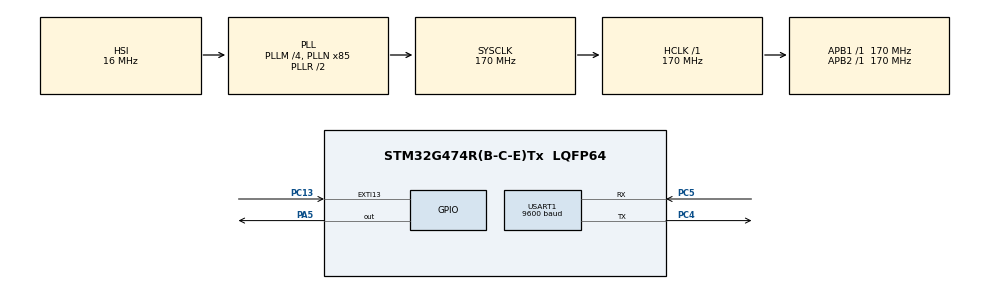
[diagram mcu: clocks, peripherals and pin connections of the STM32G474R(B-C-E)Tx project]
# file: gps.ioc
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Dma.Request0=USART1_RX
Dma.USART1_RX.0.Direction=DMA_PERIPH_TO_MEMORY
Dma.USART1_RX.0.EventEnable=DISABLE
Dma.USART1_RX.0.Instance=DMA1_Channel1
Dma.USART1_RX.0.MemDataAlignment=DMA_MDATAALIGN_BYTE
Dma.USART1_RX.0.MemInc=DMA_MINC_ENABLE
Dma.USART1_RX.0.Mode=DMA_CIRCULAR
Dma.USART1_RX.0.PeriphDataAlignment=DMA_PDATAALIGN_BYTE
Dma.USART1_RX.0.PeriphInc=DMA_PINC_DISABLE
Dma.USART1_RX.0.Polarity=HAL_DMAMUX_REQ_GEN_RISING
Dma.USART1_RX.0.Priority=DMA_PRIORITY_LOW
Dma.USART1_RX.0.RequestNumber=1
Dma.USART1_RX.0.SignalID=NONE
Dma.USART1_RX.0.SyncEnable=DISABLE
Dma.USART1_RX.0.SyncPolarity=HAL_DMAMUX_SYNC_NO_EVENT
Dma.USART1_RX.0.SyncRequestNumber=1
Dma.USART1_RX.0.SyncSignalID=NONE
Mcu.Family=STM32G4
Mcu.Name=STM32G474R(B-C-E)Tx
Mcu.Package=LQFP64
NUCLEO-G474RE.BUTTON=1
NUCLEO-G474RE.LD2=true
NUCLEO-G474RE.VCP=true
NVIC.DMA1_Channel1_IRQn=true\:0\:0\:false\:false\:true\:false\:true\:true
NVIC.EXTI15_10_IRQn=true\:0\:0\:false\:false\:true\:true\:true\:true
NVIC.PriorityGroup=NVIC_PRIORITYGROUP_4
NVIC.USART1_IRQn=true\:0\:0\:false\:false\:true\:true\:true\:true
PA13.GPIO_Label=T_SWDIO
PA13.Mode=Serial_Wire
PA13.Signal=SYS_JTMS-SWDIO
PA14.GPIO_Label=T_SWCLK
PA14.Mode=Serial_Wire
PA14.Signal=SYS_JTCK-SWCLK
PA2.Signal=LPUART1_TX
PA3.Signal=LPUART1_RX
PA5.Signal=GPIO_Output
PB3.GPIO_Label=T_SWO
PB3.Signal=SYS_JTDO-SWO
PC13.Signal=GPXTI13
PC14-OSC32_IN.GPIO_Label=RCC_OSC32_IN
PC14-OSC32_IN.Signal=RCC_OSC32_IN
PC15-OSC32_OUT.GPIO_Label=RCC_OSC32_OUT
PC15-OSC32_OUT.Signal=RCC_OSC32_OUT
PC4.Mode=Asynchronous
PC4.Signal=USART1_TX
PC5.Mode=Asynchronous
PC5.Signal=USART1_RX
PF0-OSC_IN.GPIO_Label=RCC_OSC_IN
PF0-OSC_IN.Mode=HSE-External-Oscillator
PF0-OSC_IN.Signal=RCC_OSC_IN
PF1-OSC_OUT.GPIO_Label=RCC_OSC_OUT
PF1-OSC_OUT.Mode=HSE-External-Oscillator
PF1-OSC_OUT.Signal=RCC_OSC_OUT
ProjectManager.HeapSize=0x200
ProjectManager.StackSize=0x400
ProjectManager.TargetToolchain=STM32CubeIDE
RCC.ADC12Freq_Value=170000000
RCC.ADC345Freq_Value=170000000
RCC.AHBFreq_Value=170000000
RCC.APB1Freq_Value=170000000
RCC.APB1TimFreq_Value=170000000
RCC.APB2Freq_Value=170000000
RCC.APB2TimFreq_Value=170000000
RCC.CortexFreq_Value=170000000
RCC.EXTERNAL_CLOCK_VALUE=12288000
RCC.HCLKFreq_Value=170000000
RCC.HSE_VALUE=24000000
RCC.HSI48_VALUE=48000000
RCC.HSI_VALUE=16000000
RCC.LSE_VALUE=32768
RCC.PLLM=RCC_PLLM_DIV4
RCC.PLLN=85
RCC.RTCClockSelection=RCC_RTCCLKSOURCE_LSE
RCC.SYSCLKFreq_VALUE=170000000
RCC.SYSCLKSource=RCC_SYSCLKSOURCE_PLLCLK
RCC.USBFreq_Value=170000000
RCC.VCOOutputFreq_Value=340000000
USART1.BaudRate=9600
USART1.VirtualMode-Asynchronous=VM_ASYNC
VP_NUCLEO-G474RE_VS_BSP_COMMON.Mode=COMMON
VP_SYS_VS_DBSignals.Mode=DisableDeadBatterySignals
board=NUCLEO-G474RE

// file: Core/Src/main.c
/* USER CODE BEGIN Header */
/**
  ******************************************************************************
  * @file           : main.c
  * @brief          : Main program body
  ******************************************************************************
  * @attention
  *
  * Copyright (c) 2026 STMicroelectronics.
  * All rights reserved.
  *
  * This software is licensed under terms that can be found in the LICENSE file
  * in the root directory of this software component.
  * If no LICENSE file comes with this software, it is provided AS-IS.
  *
  ******************************************************************************
  */
/* USER CODE END Header */
#include "main.h"

/* USER CODE BEGIN Includes */
#include <string.h>
#include <stdio.h>
#include <stdbool.h>
#include <stdlib.h>

/* USER CODE END Includes */

COM_InitTypeDef BspCOMInit;
UART_HandleTypeDef huart1;
DMA_HandleTypeDef hdma_usart1_rx;

/* USER CODE BEGIN PV */
#define RxBuffer_SIZE 64  //configure uart receive buffer size
#define DataBuffer_SIZE 512 //gather a few rxBuffer frames before parsing

// Functions for UART receiving, based on the DMA receive function, implementations may vary
uint16_t oldPos = 0;
uint16_t newPos = 0;
uint8_t RxBuffer[RxBuffer_SIZE];
uint8_t DataBuffer[DataBuffer_SIZE];

float total_distance_km =0.0f;
double prev_time = 0.0;
double curr_time = 0.0;
double delta_time = 0.0;
float distance_step = 0.0f;   // km or meters depending on your haversine
float speed_kmh = 0.0f;
float pace_min_per_km = 0.0f;
double prevLat = 0.0, prevLon = 0.0;
uint8_t firstFix = 1;
char buffer[100];

//create a GPS data structure
GPS myData;
/* USER CODE END PV */

void SystemClock_Config(void);
static void MX_GPIO_Init(void);
static void MX_DMA_Init(void);
static void MX_USART1_UART_Init(void);
/* USER CODE BEGIN PFP */
void get_location(void);
void Format_data(float Time,float Lat,float Long);

/* USER CODE END PFP */

/* USER CODE BEGIN 0 */

void HAL_UARTEx_RxEventCallback(UART_HandleTypeDef *huart, uint16_t Size)
{
    oldPos = newPos; //keep track of the last position in the buffer
    if(oldPos + Size > DataBuffer_SIZE){ //if the buffer is full, parse it, then reset the buffer

        uint16_t datatocopy = DataBuffer_SIZE-oldPos;  // find out how much space is left in the main buffer
        memcpy ((uint8_t *)DataBuffer+oldPos, RxBuffer, datatocopy);  // copy data in that remaining space

        oldPos = 0;  // point to the start of the buffer
        memcpy ((uint8_t *)DataBuffer, (uint8_t *)RxBuffer+datatocopy, (Size-datatocopy));  // copy the remaining data
        newPos = (Size-datatocopy);  // update the position
    }
    else{
        memcpy((uint8_t *)DataBuffer+oldPos, RxBuffer, Size); //copy received data to the buffer
        newPos = Size+oldPos; //update buffer position

    }
    HAL_UARTEx_ReceiveToIdle_DMA(&huart1, (uint8_t *)RxBuffer, RxBuffer_SIZE); //re-enable the DMA interrupt
    __HAL_DMA_DISABLE_IT(&hdma_usart1_rx, DMA_IT_HT); //disable the half transfer interrupt
}

/* USER CODE END 0 */

int main(void)
{

  /* MCU Configuration--------------------------------------------------------*/

  /* Reset of all peripherals, Initializes the Flash interface and the Systick. */
  HAL_Init();

  /* Configure the system clock */
  SystemClock_Config();

  /* Initialize all configured peripherals */
  MX_GPIO_Init();
  MX_DMA_Init();
  MX_USART1_UART_Init();
  /* USER CODE BEGIN 2 */
  HAL_UARTEx_ReceiveToIdle_DMA(&huart1, (uint8_t *)RxBuffer, RxBuffer_SIZE);
  __HAL_DMA_DISABLE_IT(&hdma_usart1_rx, DMA_IT_HT);
  int Serialcnt = 0;
  lcd_init();

  /* USER CODE END 2 */

  /* Initialize led */
  BSP_LED_Init(LED_GREEN);

  /* Initialize USER push-button, will be used to trigger an interrupt each time it's pressed.*/
  BSP_PB_Init(BUTTON_USER, BUTTON_MODE_EXTI);

  /* Initialize COM1 port (115200, 8 bits (7-bit data + 1 stop bit), no parity */
  BspCOMInit.BaudRate   = 115200;
  BspCOMInit.WordLength = COM_WORDLENGTH_8B;
  BspCOMInit.StopBits   = COM_STOPBITS_1;
  BspCOMInit.Parity     = COM_PARITY_NONE;
  BspCOMInit.HwFlowCtl  = COM_HWCONTROL_NONE;
  if (BSP_COM_Init(COM1, &BspCOMInit) != BSP_ERROR_NONE)
  {
    Error_Handler();
  }

  /* Infinite loop */
  /* USER CODE BEGIN WHILE */
  while (1)
  {
	  nmea_parse(&myData, DataBuffer);
	  if (myData.fix == 1)
	  {
		  curr_time = parse_utc_time(myData.lastMeasure);
	      if (firstFix)
	      {
	    	  prev_time = curr_time;
	          prevLat = myData.latitude;
	          prevLon = myData.longitude;
	          firstFix = 0;
	      }else
	      {
	          distance_step = haversine(prevLat, prevLon,myData.latitude, myData.longitude);
	          total_distance_km += distance_step;
	          delta_time = curr_time - prev_time;
	                  if (delta_time < 0) delta_time += 86400;

	                  if (delta_time > 0)
	                  {
	                      speed_kmh = (distance_step / delta_time) * 3600.0;    // km/h
	                      pace_min_per_km = 60.0 / speed_kmh;                  // min/km
	                  }

	          if (distance_step < 0.5f)
	              distance_step = 0.0f;

	          prevLat = myData.latitude;
	          prevLon = myData.longitude;
	          prev_time = curr_time;
	      }

	     Serialcnt++;

	  }

    /* USER CODE END WHILE */

  }
}

void SystemClock_Config(void)
{
  RCC_OscInitTypeDef RCC_OscInitStruct = {0};
  RCC_ClkInitTypeDef RCC_ClkInitStruct = {0};

  /** Configure the main internal regulator output voltage
  */
  HAL_PWREx_ControlVoltageScaling(PWR_REGULATOR_VOLTAGE_SCALE1_BOOST);

  /** Initializes the RCC Oscillators according to the specified parameters
  * in the RCC_OscInitTypeDef structure.
  */
  RCC_OscInitStruct.OscillatorType = RCC_OSCILLATORTYPE_HSI;
  RCC_OscInitStruct.HSIState = RCC_HSI_ON;
  RCC_OscInitStruct.HSICalibrationValue = RCC_HSICALIBRATION_DEFAULT;
  RCC_OscInitStruct.PLL.PLLState = RCC_PLL_ON;
  RCC_OscInitStruct.PLL.PLLSource = RCC_PLLSOURCE_HSI;
  RCC_OscInitStruct.PLL.PLLM = RCC_PLLM_DIV4;
  RCC_OscInitStruct.PLL.PLLN = 85;
  RCC_OscInitStruct.PLL.PLLP = RCC_PLLP_DIV2;
  RCC_OscInitStruct.PLL.PLLQ = RCC_PLLQ_DIV2;
  RCC_OscInitStruct.PLL.PLLR = RCC_PLLR_DIV2;
  if (HAL_RCC_OscConfig(&RCC_OscInitStruct) != HAL_OK)
  {
    Error_Handler();
  }

  /** Initializes the CPU, AHB and APB buses clocks
  */
  RCC_ClkInitStruct.ClockType = RCC_CLOCKTYPE_HCLK|RCC_CLOCKTYPE_SYSCLK
                              |RCC_CLOCKTYPE_PCLK1|RCC_CLOCKTYPE_PCLK2;
  RCC_ClkInitStruct.SYSCLKSource = RCC_SYSCLKSOURCE_PLLCLK;
  RCC_ClkInitStruct.AHBCLKDivider = RCC_SYSCLK_DIV1;
  RCC_ClkInitStruct.APB1CLKDivider = RCC_HCLK_DIV1;
  RCC_ClkInitStruct.APB2CLKDivider = RCC_HCLK_DIV1;

  if (HAL_RCC_ClockConfig(&RCC_ClkInitStruct, FLASH_LATENCY_4) != HAL_OK)
  {
    Error_Handler();
  }
}

static void MX_USART1_UART_Init(void)
{

  huart1.Instance = USART1;
  huart1.Init.BaudRate = 9600;
  huart1.Init.WordLength = UART_WORDLENGTH_8B;
  huart1.Init.StopBits = UART_STOPBITS_1;
  huart1.Init.Parity = UART_PARITY_NONE;
  huart1.Init.Mode = UART_MODE_TX_RX;
  huart1.Init.HwFlowCtl = UART_HWCONTROL_NONE;
  huart1.Init.OverSampling = UART_OVERSAMPLING_16;
  huart1.Init.OneBitSampling = UART_ONE_BIT_SAMPLE_DISABLE;
  huart1.Init.ClockPrescaler = UART_PRESCALER_DIV1;
  huart1.AdvancedInit.AdvFeatureInit = UART_ADVFEATURE_NO_INIT;
  if (HAL_UART_Init(&huart1) != HAL_OK)
  {
    Error_Handler();
  }
  if (HAL_UARTEx_SetTxFifoThreshold(&huart1, UART_TXFIFO_THRESHOLD_1_8) != HAL_OK)
  {
    Error_Handler();
  }
  if (HAL_UARTEx_SetRxFifoThreshold(&huart1, UART_RXFIFO_THRESHOLD_1_8) != HAL_OK)
  {
    Error_Handler();
  }
  if (HAL_UARTEx_DisableFifoMode(&huart1) != HAL_OK)
  {
    Error_Handler();
  }

}

static void MX_DMA_Init(void)
{

  /* DMA controller clock enable */
  __HAL_RCC_DMAMUX1_CLK_ENABLE();
  __HAL_RCC_DMA1_CLK_ENABLE();

  /* DMA interrupt init */
  /* DMA1_Channel1_IRQn interrupt configuration */
  HAL_NVIC_SetPriority(DMA1_Channel1_IRQn, 0, 0);
  HAL_NVIC_EnableIRQ(DMA1_Channel1_IRQn);

}

static void MX_GPIO_Init(void)
{

  /* GPIO Ports Clock Enable */
  __HAL_RCC_GPIOC_CLK_ENABLE();
  __HAL_RCC_GPIOF_CLK_ENABLE();
  __HAL_RCC_GPIOA_CLK_ENABLE();
  __HAL_RCC_GPIOB_CLK_ENABLE();

}

void Error_Handler(void)
{
  __disable_irq();
  while (1)
  {
  }
}
